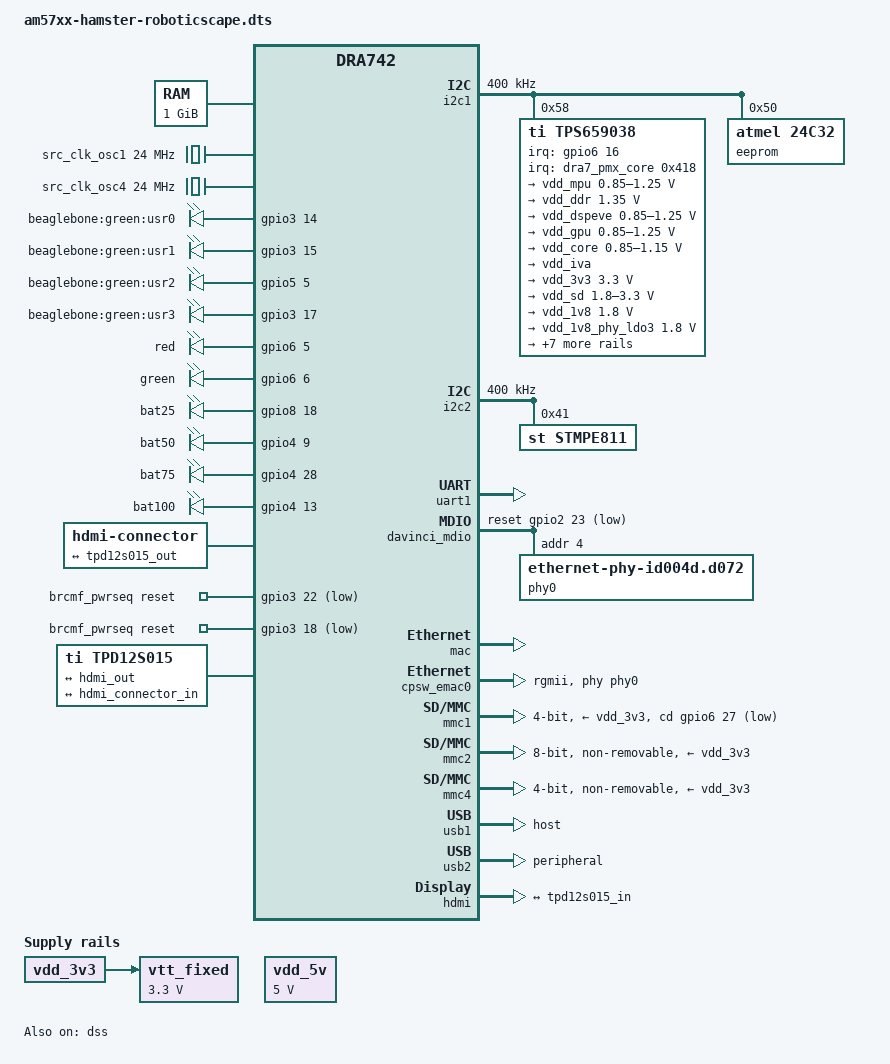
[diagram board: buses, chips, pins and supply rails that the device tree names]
/*
 * Copyright (C) 2014-2018 Texas Instruments Incorporated - http://www.ti.com/
 *
 * This program is free software; you can redistribute it and/or modify
 * it under the terms of the GNU General Public License version 2 as
 * published by the Free Software Foundation.
 */
/dts-v1/;

#include "dra74x.dtsi"
#include "am57xx-commercial-grade.dtsi"
#include "dra74x-mmc-iodelay.dtsi"
#include <dt-bindings/gpio/gpio.h>
#include <dt-bindings/interrupt-controller/irq.h>
#include <dt-bindings/pinctrl/dra.h>

/ {
	compatible = "ti,am5728", "ti,dra742", "ti,dra74", "ti,dra7";

	aliases {
		rtc0 = &tps659038_rtc;
		rtc1 = &rtc;
		display0 = &hdmi0;
	};

	chosen {
		stdout-path = &uart1;
	};

	memory@0 {
		device_type = "memory";
		reg = <0x0 0x80000000 0x0 0x40000000>;
	};

	reserved-memory {
		#address-cells = <2>;
		#size-cells = <2>;
		ranges;

		ipu2_cma_pool: ipu2_cma@95800000 {
			compatible = "shared-dma-pool";
			reg = <0x0 0x95800000 0x0 0x3800000>;
			reusable;
			status = "okay";
 		};

		dsp1_cma_pool: dsp1_cma@99000000 {
			compatible = "shared-dma-pool";
			reg = <0x0 0x99000000 0x0 0x4000000>;
			reusable;
			status = "okay";
		};

		ipu1_cma_pool: ipu1_cma@9d000000 {
			compatible = "shared-dma-pool";
			reg = <0x0 0x9d000000 0x0 0x2000000>;
			reusable;
                        status = "okay";
		};

		dsp2_cma_pool: dsp2_cma@9f000000 {
			compatible = "shared-dma-pool";
			reg = <0x0 0x9f000000 0x0 0x800000>;
			reusable;
			status = "okay";
		};

		cmem_block_mem_0: cmem_block_mem@a0000000 {
			reg = <0x0 0xa0000000 0x0 0x0c000000>;
			no-map;
			status = "okay";
		};

		cmem_block_mem_1_ocmc3: cmem_block_mem@40500000 {
			reg = <0x0 0x40500000 0x0 0x100000>;
			no-map;
			status = "okay";
		};
        };

	vdd_5v: fixedregulator-vdd_5v {
		compatible = "regulator-fixed";
		regulator-name = "vdd_5v";
		regulator-min-microvolt = <5000000>;
		regulator-max-microvolt = <5000000>;
		regulator-always-on;
		regulator-boot-on;
	};

	vtt_fixed: fixedregulator-vtt {
		/* TPS51200 */
		compatible = "regulator-fixed";
		regulator-name = "vtt_fixed";
		vin-supply = <&vdd_3v3>;
		regulator-min-microvolt = <3300000>;
		regulator-max-microvolt = <3300000>;
		regulator-always-on;
		regulator-boot-on;
	};

	src_clk_x1: src_clk_x1 {
		#clock-cells = <0>;
		compatible = "fixed-clock";
		clock-frequency = <20000000>;
	};

	src_clk_osc1: src_clk_osc1 {
		#clock-cells = <0>;
		compatible = "fixed-clock";
		clock-frequency = <24000000>;
	};

	src_clk_osc4: src_clk_osc4 {
        	#clock-cells = <0>;
        	compatible = "fixed-clock";
        	clock-frequency = <24000000>;
    	};

	leds {
		compatible = "gpio-leds";
		pinctrl-names = "default";
		pinctrl-0 = <&led_pins_default>;

		usr_0_led {
			label = "beaglebone:green:usr0";
			gpios = <&gpio3 14 GPIO_ACTIVE_HIGH>;
			linux,default-trigger = "heartbeat";
			default-state = "off";
		};

		usr_1_led {
			label = "beaglebone:green:usr1";
			gpios = <&gpio3 15 GPIO_ACTIVE_HIGH>;
			linux,default-trigger = "mmc0";
			default-state = "off";
		};

		usr_2_led {
			label = "beaglebone:green:usr2";
			gpios = <&gpio5 5 GPIO_ACTIVE_HIGH>;
			linux,default-trigger = "cpu";
			default-state = "off";
		};

		usr_3_led {
			label = "beaglebone:green:usr3";
			gpios = <&gpio3 17 GPIO_ACTIVE_HIGH>;
			linux,default-trigger = "mmc1";
			default-state = "off";
		};

		red_led {
			label = "red";
			gpios = <&gpio6 5 GPIO_ACTIVE_HIGH>;
			default-state = "off";
		};

		green_led {
			label = "green";
			gpios = <&gpio6 6 GPIO_ACTIVE_HIGH>;
			default-state = "off";
		};

		batt_1_led {
			label = "bat25";
			gpios = <&gpio8 18 GPIO_ACTIVE_HIGH>;
			default-state = "off";
		};

		batt_2_led {
			label = "bat50";
			gpios = <&gpio4 9 GPIO_ACTIVE_HIGH>;
			default-state = "off";
		};

		batt_3_led {
			label = "bat75";
			gpios = <&gpio4 28 GPIO_ACTIVE_HIGH>;
			default-state = "off";
		};

		batt_4_led {
			label = "bat100";
			gpios = <&gpio4 13 GPIO_ACTIVE_HIGH>;
			default-state = "off";
		};
	};

	hdmi0: connector {
		compatible = "hdmi-connector";
		label = "hdmi";

		type = "a";

		port {
			hdmi_connector_in: endpoint {
				remote-endpoint = <&tpd12s015_out>;
			};
		};
	};

	brcmf_pwrseq: brcmf_pwrseq {
		compatible = "mmc-pwrseq-simple";
		pinctrl-names = "default";
		pinctrl-0 = <&brcmf_pwrseq_pins_default>;		
		reset-gpios = <&gpio3 22 GPIO_ACTIVE_LOW>,     // BT-REG-ON
			<&gpio3 18 GPIO_ACTIVE_LOW>;   // WL-REG-ON
	};

	tpd12s015: encoder {
		compatible = "ti,tpd12s015";

		ports {
			#address-cells = <1>;
			#size-cells = <0>;

			port@0 {
				reg = <0>;

				tpd12s015_in: endpoint {
					remote-endpoint = <&hdmi_out>;
				};
			};

			port@1 {
				reg = <1>;

				tpd12s015_out: endpoint {
					remote-endpoint = <&hdmi_connector_in>;
				};
			};
		};
	};
};

&dra7_pmx_core {
	led_pins_default: led_pins_default {
		pinctrl-single,pins = <
			DRA7XX_CORE_IOPAD(0x351c, (PIN_OUTPUT | MUX_MODE14)) /* AG3: vin1a_d10.gpio3_14 - USR0 */
			DRA7XX_CORE_IOPAD(0x3520, (PIN_OUTPUT | MUX_MODE14)) /* AG5: vin1a_d12.gpio3_15 - USR1 */
			DRA7XX_CORE_IOPAD(0x36c0, (PIN_OUTPUT | MUX_MODE14)) /* J11: mcasp1_axr3.gpio5_5 - USR2 */
			DRA7XX_CORE_IOPAD(0x3528, (PIN_OUTPUT | MUX_MODE14)) /* AF6: vin1a_d13.gpio3_17 - USR3 */
			DRA7XX_CORE_IOPAD(0x36EC, (PIN_OUTPUT | MUX_MODE14)) /* G14: mcasp1_axr14.gpio6_5 - P8_7 - RED */
			DRA7XX_CORE_IOPAD(0x36F0, (PIN_OUTPUT | MUX_MODE14)) /* F14: mcasp1_axr15.gpio6_6 - P8_8 - GREEN */
			DRA7XX_CORE_IOPAD(0x3624, (PIN_OUTPUT | MUX_MODE14)) /* A7: vout1_d18.gpio8_18 - P8_19 - BAT25 */
			DRA7XX_CORE_IOPAD(0x3588, (PIN_OUTPUT | MUX_MODE14)) /* F5: vin2a_d8.gpio4_9 - P8_18 - BAT50 */
			DRA7XX_CORE_IOPAD(0x35B8, (PIN_OUTPUT | MUX_MODE14)) /* B3: vin2a_d20.gpio4_28 - P8_26 - BAT75 */
			DRA7XX_CORE_IOPAD(0x3598, (PIN_OUTPUT | MUX_MODE14)) /* D5: vin2a_d12.gpio4_13 - P8_14 - BAT100 */
		>;
	};

	ethphy_extra_pins_default: ethphy_extra_pins_default {
		pinctrl-single,pins = <
			DRA7XX_CORE_IOPAD(0x34c4, PIN_OUTPUT_PULLUP | MODE_SELECT | MUX_MODE14) /* N1: gpmc_advn_ale.gpio2_23 - RGMII_RST */
			DRA7XX_CORE_IOPAD(0x364c, PIN_INPUT | MODE_SELECT | MUX_MODE14) /* Y1: uart3_txd.gpio5_19 - MII0_INT */
		>;
	};

	brcmf_pwrseq_pins_default: brcmf_pwrseq_pins_default {
		pinctrl-single,pins = <
			DRA7XX_CORE_IOPAD(0x352c, PIN_OUTPUT_PULLUP | MODE_SELECT | MUX_MODE14) /* AF3: vin1a_d14.gpio3_18 - WL_REG_ON */
		>;
	};

	wifibt_extra_pins_default: wifibt_extra_pins_default {
		pinctrl-single,pins = <
			DRA7XX_CORE_IOPAD(0x3540, PIN_INPUT | MODE_SELECT | MUX_MODE14) /* AE1: vin1a_d19.gpio3_23 - WL_HOST_WAKE */
		>;
	};
};

&i2c1 {
	status = "okay";
	clock-frequency = <400000>;

	tps659038: tps659038@58 {
		compatible = "ti,tps659038";
		reg = <0x58>;
		interrupts-extended = <&gpio6 16 IRQ_TYPE_LEVEL_HIGH
			&dra7_pmx_core 0x418>;

		#interrupt-cells = <2>;
		interrupt-controller;

		ti,system-power-controller;
		ti,palmas-override-powerhold;

		tps659038_pmic {
			compatible = "ti,tps659038-pmic";

			smps12-in-supply = <&vdd_5v>;
			smps3-in-supply = <&vdd_5v>;
			smps45-in-supply = <&vdd_5v>;
			smps6-in-supply = <&vdd_5v>;
			smps7-in-supply = <&vdd_5v>;
			mps3-in-supply = <&vdd_5v>;
			smps8-in-supply = <&vdd_5v>;
			smps9-in-supply = <&vdd_5v>;
			ldo1-in-supply = <&vdd_5v>;
			ldo2-in-supply = <&vdd_5v>;
			ldo3-in-supply = <&vdd_5v>;
			ldo4-in-supply = <&vdd_5v>;
			ldo9-in-supply = <&vdd_5v>;
			ldoln-in-supply = <&vdd_5v>;
			ldousb-in-supply = <&vdd_5v>;
			ldortc-in-supply = <&vdd_5v>;

			regulators {
				vdd_mpu: smps12 {
					/* VDD_MPU */
					regulator-name = "smps12";
					regulator-min-microvolt = <850000>;
					regulator-max-microvolt = <1250000>;
					regulator-always-on;
					regulator-boot-on;
				};

				vdd_ddr: smps3 {
					/* VDD_DDR EMIF1 EMIF2 */
					regulator-name = "smps3";
					regulator-min-microvolt = <1350000>;
					regulator-max-microvolt = <1350000>;
					regulator-always-on;
					regulator-boot-on;
				};

				vdd_dspeve: smps45 {
					/* VDD_DSPEVE on AM572 */
					/* VDD_IVA + VDD_DSP on AM571 */
					regulator-name = "smps45";
					regulator-min-microvolt = <850000>;
					regulator-max-microvolt = <1250000>;
					regulator-always-on;
					regulator-boot-on;
				};

				vdd_gpu: smps6 {
					/* VDD_GPU */
					regulator-name = "smps6";
					regulator-min-microvolt = <850000>;
					regulator-max-microvolt = <1250000>;
					regulator-always-on;
					regulator-boot-on;
				};

				vdd_core: smps7 {
					/* VDD_CORE */
					regulator-name = "smps7";
					regulator-min-microvolt = <850000>;	/*** 1.15V */
					regulator-max-microvolt = <1150000>;
					regulator-always-on;
					regulator-boot-on;
				};

				vdd_iva: smps8 {
					/* 5728 - VDD_IVAHD */			/*** 1.06V */
					/* 5718 - N.C. test point */
					regulator-name = "smps8";
				};

				vdd_3v3: smps9 {
					/* VDD_3V3 */
					regulator-name = "smps9";
					regulator-min-microvolt = <3300000>;
					regulator-max-microvolt = <3300000>;
					regulator-always-on;
					regulator-boot-on;
				};

				vdd_sd: ldo1 {
					/* VDDSHV8 - VSDMMC  */
					regulator-name = "ldo1";
					regulator-min-microvolt = <1800000>;
					regulator-max-microvolt = <3300000>;
					regulator-boot-on;
					regulator-always-on;
				};

				vdd_1v8: ldo2 {
					/* VDDSH18V */
					regulator-name = "ldo2";
					regulator-min-microvolt = <1800000>;
					regulator-max-microvolt = <1800000>;
					regulator-always-on;
					regulator-boot-on;
				};

				vdd_1v8_phy_ldo3: ldo3 {
					/* R1.3a 572x V1_8PHY_LDO3: USB, SATA */
					regulator-name = "ldo3";
					regulator-min-microvolt = <1800000>;
					regulator-max-microvolt = <1800000>;
					regulator-always-on;
					regulator-boot-on;
				};

				vdd_1v8_phy_ldo4: ldo4 {
					/* R1.3a 572x V1_8PHY_LDO4: PCIE, HDMI*/
					regulator-name = "ldo4";
					regulator-min-microvolt = <1800000>;
					regulator-max-microvolt = <1800000>;
					regulator-always-on;
					regulator-boot-on;
				};

				/* LDO5-8 unused */

				vdd_rtc: ldo9 {
					/* VDD_RTC  */
					regulator-name = "ldo9";
					regulator-min-microvolt = <840000>;
					regulator-max-microvolt = <1160000>;
					regulator-always-on;
					regulator-boot-on;
				};

				vdd_1v8_pll: ldoln {
					/* VDDA_1V8_PLL */
					regulator-name = "ldoln";
					regulator-min-microvolt = <1800000>;
					regulator-max-microvolt = <1800000>;
					regulator-always-on;
					regulator-boot-on;
				};

				ldousb_reg: ldousb {
					/* VDDA_3V_USB: VDDA_USBHS33 */
					regulator-name = "ldousb";
					regulator-min-microvolt = <3300000>;
					regulator-max-microvolt = <3300000>;
					regulator-always-on;
					regulator-boot-on;
				};

				ldortc_reg: ldortc {
					/* VDDA_RTC  */
					regulator-name = "ldortc";
					regulator-min-microvolt = <1800000>;
					regulator-max-microvolt = <1800000>;
					regulator-always-on;
					regulator-boot-on;
				};

				regen1: regen1 {
					/* VDD_3V3_ON */
					regulator-name = "regen1";
					regulator-boot-on;
					regulator-always-on;
				};

				regen2: regen2 {
					/* Needed for PMIC internal resource */
					regulator-name = "regen2";
					regulator-boot-on;
					regulator-always-on;
				};
			};
		};

		tps659038_rtc: tps659038_rtc {
			compatible = "ti,palmas-rtc";
			interrupt-parent = <&tps659038>;
			interrupts = <8 IRQ_TYPE_EDGE_FALLING>;
			wakeup-source;
		};

		tps659038_pwr_button: tps659038_pwr_button {
			compatible = "ti,palmas-pwrbutton";
			interrupt-parent = <&tps659038>;
			interrupts = <1 IRQ_TYPE_EDGE_FALLING>;
			wakeup-source;
			ti,palmas-long-press-seconds = <12>;
		};

		tps659038_gpio: tps659038_gpio {
			compatible = "ti,palmas-gpio";
			gpio-controller;
			#gpio-cells = <2>;
		};

		extcon_usb2: tps659038_usb {
			compatible = "ti,palmas-usb-vid";
		};

	};

	eeprom: eeprom@50 {
		compatible = "atmel,24c32";
		reg = <0x50>;
	};
};

&i2c2 {
	status = "okay";
	clock-frequency = <400000>;

	/* STMPE811 touch screen controller */
	stmpe811@41 {
		compatible = "st,stmpe811";
		//pinctrl-names = "default";
		//pinctrl-0 = <&pinctrl_touch_int>;
		reg = <0x41>;
		//interrupts = <10 IRQ_TYPE_LEVEL_LOW>;
		//interrupt-parent = <&gpio4>;
		//interrupt-controller;
		//id = <0>;
		//blocks = <0x5>;
		//irq-trigger = <0x1>;

		stmpe_touchscreen {
			compatible = "st,stmpe-ts";
			/* 3.25 MHz ADC clock speed */
			st,adc-freq = <1>;
			/* 8 sample average control */
			st,ave-ctrl = <3>;
			/* 7 length fractional part in z */
			st,fraction-z = <7>;
			/*
			 * 50 mA typical 80 mA max touchscreen drivers
			 * current limit value
			 */
			st,i-drive = <1>;
			/* 12-bit ADC */
			st,mod-12b = <1>;
			/* internal ADC reference */
			st,ref-sel = <0>;
			/* ADC converstion time: 80 clocks */
			st,sample-time = <4>;
			/* 1 ms panel driver settling time */
			st,settling = <3>;
			/* 5 ms touch detect interrupt delay */
			st,touch-det-delay = <5>;
		};
	};
};

&cpu0 {
	vdd-supply = <&vdd_mpu>;
	voltage-tolerance = <1>;
};

&uart1 {
	status = "okay";
};

&davinci_mdio {
	reset-gpios = <&gpio2 23 GPIO_ACTIVE_LOW>;
	reset-delay-us = <2>;

	phy0: ethernet-phy@1 {
		reg = <4>;
		compatible = "ethernet-phy-id004d.d072",
			"ethernet-phy-ieee802.3-c22";
		eee-broken-100tx;
		eee-broken-1000t;
		//interrupt-parent = <&gpio5>;
		//interrupts = <19 IRQ_TYPE_EDGE_RISING>;
	};
};

&mac {
	slaves = <1>;
	status = "okay";
	//dual_emac;
};

&cpsw_emac0 {
	phy-handle = <&phy0>;
	phy-mode = "rgmii";
	//dual_emac_res_vlan = <1>;
};

&mmc1 {
	status = "okay";
	vmmc-supply = <&vdd_3v3>;
	//vmmc_aux-supply = <&vdd_sd>;
	vqmmc-supply = <&vdd_sd>;  /* IO Line Power */
	bus-width = <4>;
	max-frequency = <24000000>;
	cd-gpios = <&gpio6 27 GPIO_ACTIVE_LOW>; /* gpio 219 */

	pinctrl-names = "default", "hs", "sdr12", "sdr25", "sdr50", "ddr50", "sdr104";
	pinctrl-0 = <&mmc1_pins_default>;
	pinctrl-1 = <&mmc1_pins_hs>;
	pinctrl-2 = <&mmc1_pins_sdr12>;
	pinctrl-3 = <&mmc1_pins_sdr25>;
	pinctrl-4 = <&mmc1_pins_sdr50>;
	pinctrl-5 = <&mmc1_pins_ddr50 &mmc1_iodelay_ddr_rev20_conf>;
	pinctrl-6 = <&mmc1_pins_sdr104 &mmc1_iodelay_sdr104_rev20_conf>;
};

&mmc2 {
	status = "okay";
	vmmc-supply = <&vdd_3v3>;
	vqmmc-supply = <&vdd_3v3>; /* IO Line Power */
	bus-width = <8>;
	ti,non-removable;
	non-removable;
	max-frequency = <96000000>;
	no-1-8-v;
	/delete-property/ mmc-hs200-1_8v;

	pinctrl-names = "default", "hs";
	pinctrl-0 = <&mmc2_pins_default>;
	pinctrl-1 = <&mmc2_pins_hs>;
};

&mmc4 {
	/* DS: Default speed (DS) up to 25 MHz, including 1- and 4-bit modes (3.3 V signaling). */
	/* HS: High speed up to 50 MHz (3.3 V signaling). */
	/* SDR12: SDR up to 25 MHz (1.8 V signaling). */
	/* SDR25: SDR up to 50 MHz (1.8 V signaling). */
	/* SDR50: SDR up to 100 MHz (1.8 V signaling). */
	/* SDR104: SDR up to 208 MHz (1.8 V signaling) */
	/* DDR50: DDR up to 50 MHz (1.8 V signaling). */
	status = "okay";

	pinctrl-names = "default";
	//pinctrl-0 = <&mmc4_pins_hs &wifibt_extra_pins_default>;
	pinctrl-0 = <&mmc4_pins_default &wifibt_extra_pins_default>;

	vmmc-supply = <&vdd_3v3>;
	cap-power-off-card;
	keep-power-in-suspend;
	bus-width = <4>;
	ti,non-removable;
	non-removable;
	no-1-8-v;
	//max-frequency = <50000000>;
	max-frequency = <24000000>;

	#address-cells = <1>;
	#size-cells = <0>;
	mmc-pwrseq = <&brcmf_pwrseq>;

	brcmf: wifi@1 {
		status = "disabled";
		reg = <1>;
		compatible = "brcm,bcm4329-fmac";

		//brcm,drive-strength = <10>;
		//brcm,broken-sg-support;
		brcm,sd-head-align = <4>;
		brcm,sd_sgentry_align = <512>;

		interrupt-parent = <&gpio3>;
		interrupts = <23 IRQ_TYPE_EDGE_FALLING>;
		interrupt-names = "host-wake";
	};
};

&usb2_phy1 {
	phy-supply = <&ldousb_reg>;
};

&usb2_phy2 {
	phy-supply = <&ldousb_reg>;
};

&usb1 {
	dr_mode = "host";
};

&omap_dwc3_2 {
	extcon = <&extcon_usb2>;
};

&usb2 {
	dr_mode = "peripheral";
};

&cpu_trips {
	cpu_alert1: cpu_alert1 {
		temperature = <50000>; /* millicelsius */
		hysteresis = <2000>; /* millicelsius */
		type = "active";
	};
};

&cpu_cooling_maps {
	map1 {
		trip = <&cpu_alert1>;
	};
};

&thermal_zones {
	board_thermal: board_thermal {
		polling-delay-passive = <1250>; /* milliseconds */
		polling-delay = <1500>; /* milliseconds */

		board_trips: trips {
			board_alert0: board_alert {
				temperature = <40000>; /* millicelsius */
				hysteresis = <2000>; /* millicelsius */
				type = "active";
			};

			board_crit: board_crit {
				temperature = <105000>; /* millicelsius */
				hysteresis = <0>; /* millicelsius */
				type = "critical";
			};
		};

		board_cooling_maps: cooling-maps {
			map0 {
				trip = <&board_alert0>;
			};
		};
       };
};

//&gpu {
//	status = "ok";
//};

&dss {
	status = "ok";

	vdda_video-supply = <&vdd_1v8_pll>;
};

//&bb2d {
//	status = "okay";
//};

&hdmi {
	status = "ok";
	vdda-supply = <&vdd_1v8_phy_ldo4>;

	port {
		hdmi_out: endpoint {
			remote-endpoint = <&tpd12s015_in>;
		};
	};
};

//&pruss_soc_bus1 {
//	status = "okay";
//
//	pruss1: pruss@0 {
//		status = "okay";
//	};
//};

//&pruss_soc_bus2 {
//	status = "okay";
//
//	pruss2: pruss@0 {
//		status = "okay";
//	};
//};

//&ipu2 {
//	status = "okay";
//	memory-region = <&ipu2_memory_region>;
//};

//&ipu1 {
//	status = "okay";
//	memory-region = <&ipu1_memory_region>;
//};

//&dsp1 {
//	status = "okay";
//	memory-region = <&dsp1_memory_region>;
//};

//&dsp2 {
//	status = "okay";
//	memory-region = <&dsp2_memory_region>;
//};

